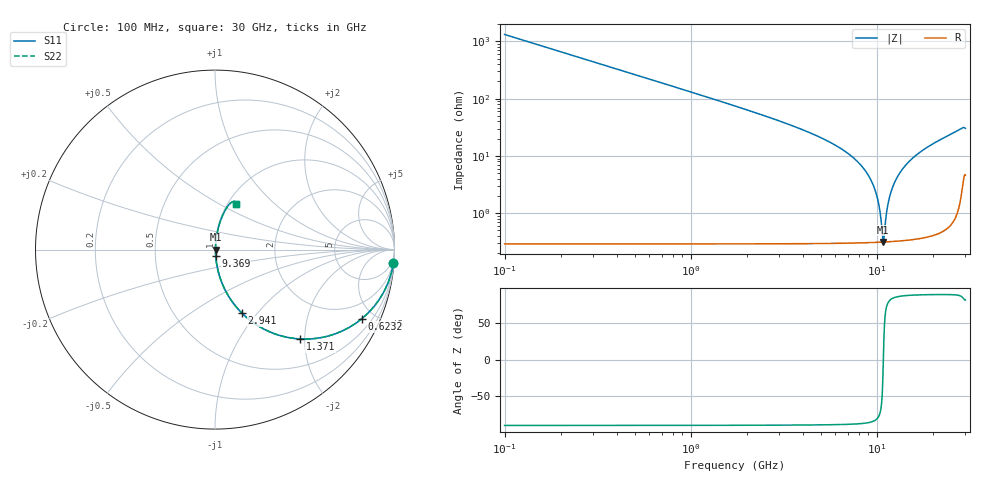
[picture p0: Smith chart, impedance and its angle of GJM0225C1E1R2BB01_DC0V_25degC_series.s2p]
!Murata Part Number: GJM0225C1E1R2BB01
!These Parameters are Measured in Series Mode Connection
!  o--ll--o
!Port1  Port2
!  o------o
!Operation Temp=25[degC], DC Bias Voltage=0[V]
!Freq. Start=100[MHz] Stop=30[GHz], 401[Steps]
!Data Generated on Feb 1, 2023
# Hz S RI R 50
!Freq.(Hz) S11(Real) S11(Imag) S21(Real) S21(Imag) S12(Real) S12(Imag) S22(Real) S22(Imag)
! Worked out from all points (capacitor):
!   401 points, 100 MHz to 30 GHz, reference 50 ohm
!   read as one part in series: C = 1.2 pF near 249.5 MHz
!   lowest |Z| = 313 mohm at 10.86 GHz (marker M1)
!   series resonance near 10.87 GHz, so ESL is about 180 pH
!   S11 on the Smith chart (normalised r, x): 100 MHz: 1, -27; 623.2 MHz: 1.01, -4.24; 1.371 GHz: 1.01, -1.90; 2.941 GHz: 1.01, -0.84; 9.369 GHz: 1.01, -0.07; 30 GHz: 1.09, +0.60
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1e8  0.9943 -0.075  0.00567 0.075  0.00567 0.075  0.9943 -0.075
3.99e8  0.9166 -0.276  0.0834 0.276  0.0834 0.276  0.9166 -0.276
6.2325e8  0.8178 -0.3853  0.1822 0.3853  0.1822 0.3853  0.8178 -0.3853
1.37075e9  0.4756 -0.4979  0.5244 0.4979  0.5244 0.4979  0.4756 -0.4979
2.0435e9  0.2826 -0.4479  0.7174 0.4479  0.7174 0.4479  0.2826 -0.4479
2.9405e9  0.1506 -0.3542  0.8494 0.3542  0.8494 0.3542  0.1506 -0.3542
5.10825e9  0.042 -0.1934  0.958 0.1934  0.958 0.1934  0.042 -0.1934
7.79925e9  0.00973 -0.0816  0.9903 0.0816  0.9903 0.0816  0.00973 -0.0816
9.369e9  0.00437 -0.0362  0.9956 0.0362  0.9956 0.0362  0.00437 -0.0362
1.01165e10  0.00339 -0.0174  0.9966 0.0174  0.9966 0.0174  0.00339 -0.0174
1.04155e10  0.00321 -0.0103  0.9968 0.0103  0.9968 0.0103  0.00321 -0.0103
1.07145e10  0.00312 -0.00343  0.9969 0.00343  0.9969 0.00343  0.00312 -0.00343
1.0864e10  0.00312 -5.64e-05  0.9969 5.64e-05  0.9969 5.64e-05  0.00312 -5.64e-05
1.10135e10  0.00314 0.00328  0.9969 -0.00328  0.9969 -0.00328  0.00314 0.00328
1.123775e10  0.0032 0.00819  0.9968 -0.00819  0.9968 -0.00819  0.0032 0.00819
1.1462e10  0.00332 0.013  0.9967 -0.013  0.9967 -0.013  0.00332 0.013
1.213475e10  0.00391 0.027  0.9961 -0.027  0.9961 -0.027  0.00391 0.027
1.333075e10  0.00579 0.0502  0.9942 -0.0502  0.9942 -0.0502  0.00579 0.0502
1.505e10  0.00995 0.0807  0.99 -0.0807  0.99 -0.0807  0.00995 0.0807
2.005825e10  0.0295 0.1573  0.9705 -0.1573  0.9705 -0.1573  0.0295 0.1573
2.50665e10  0.0596 0.2242  0.9404 -0.2242  0.9404 -0.2242  0.0596 0.2242
3e10  0.1165 0.2532  0.8835 -0.2532  0.8835 -0.2532  0.1165 0.2532
